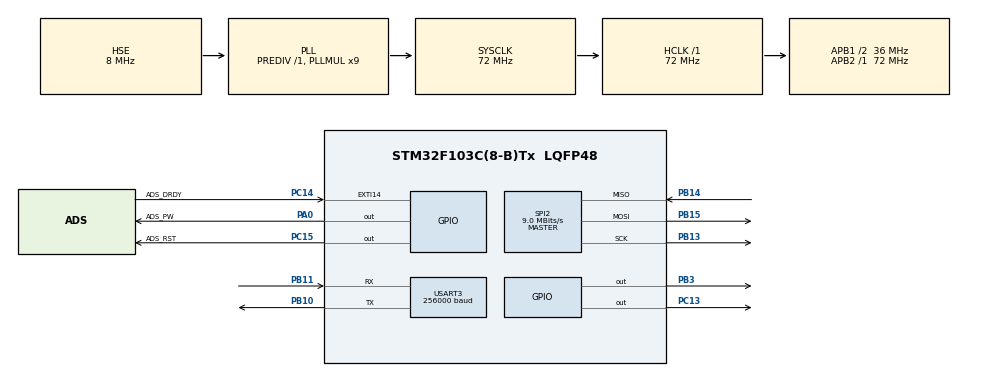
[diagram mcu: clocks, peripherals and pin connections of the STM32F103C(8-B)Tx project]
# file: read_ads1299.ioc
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Dma.Request0=USART3_TX
Dma.USART3_TX.0.Direction=DMA_MEMORY_TO_PERIPH
Dma.USART3_TX.0.Instance=DMA1_Channel2
Dma.USART3_TX.0.MemDataAlignment=DMA_MDATAALIGN_BYTE
Dma.USART3_TX.0.MemInc=DMA_MINC_ENABLE
Dma.USART3_TX.0.Mode=DMA_NORMAL
Dma.USART3_TX.0.PeriphDataAlignment=DMA_PDATAALIGN_BYTE
Dma.USART3_TX.0.PeriphInc=DMA_PINC_DISABLE
Dma.USART3_TX.0.Priority=DMA_PRIORITY_LOW
Mcu.Family=STM32F1
Mcu.Name=STM32F103C(8-B)Tx
Mcu.Package=LQFP48
NVIC.DMA1_Channel2_IRQn=true\:0\:0\:false\:false\:true\:false\:true\:true
NVIC.EXTI15_10_IRQn=true\:0\:0\:false\:false\:true\:true\:true\:true
NVIC.PriorityGroup=NVIC_PRIORITYGROUP_4
NVIC.USART3_IRQn=true\:1\:0\:true\:false\:true\:true\:true\:true
PA0-WKUP.GPIO_Label=ADS_PW
PA0-WKUP.Signal=GPIO_Output
PA13.Mode=Serial_Wire
PA13.Signal=SYS_JTMS-SWDIO
PA14.Mode=Serial_Wire
PA14.Signal=SYS_JTCK-SWCLK
PB10.Mode=Asynchronous
PB10.Signal=USART3_TX
PB11.Mode=Asynchronous
PB11.Signal=USART3_RX
PB13.Mode=Full_Duplex_Master
PB13.Signal=SPI2_SCK
PB14.Mode=Full_Duplex_Master
PB14.Signal=SPI2_MISO
PB15.Mode=Full_Duplex_Master
PB15.Signal=SPI2_MOSI
PB3.Signal=GPIO_Output
PC13-TAMPER-RTC.Signal=GPIO_Output
PC14-OSC32_IN.GPIO_Label=ADS_DRDY
PC14-OSC32_IN.GPIO_ModeDefaultEXTI=GPIO_MODE_IT_FALLING
PC14-OSC32_IN.GPIO_PuPd=GPIO_PULLDOWN
PC14-OSC32_IN.Signal=GPXTI14
PC15-OSC32_OUT.GPIO_Label=ADS_RST
PC15-OSC32_OUT.Signal=GPIO_Output
PD0-OSC_IN.Mode=HSE-External-Oscillator
PD0-OSC_IN.Signal=RCC_OSC_IN
PD1-OSC_OUT.Mode=HSE-External-Oscillator
PD1-OSC_OUT.Signal=RCC_OSC_OUT
ProjectManager.HeapSize=0x200
ProjectManager.StackSize=0x400
ProjectManager.TargetToolchain=STM32CubeIDE
RCC.AHBFreq_Value=72000000
RCC.APB1CLKDivider=RCC_HCLK_DIV2
RCC.APB1Freq_Value=36000000
RCC.APB1TimFreq_Value=72000000
RCC.APB2Freq_Value=72000000
RCC.APB2TimFreq_Value=72000000
RCC.HCLKFreq_Value=72000000
RCC.PLLMUL=RCC_PLL_MUL9
RCC.PLLSourceVirtual=RCC_PLLSOURCE_HSE
RCC.SYSCLKFreq_VALUE=72000000
RCC.SYSCLKSource=RCC_SYSCLKSOURCE_PLLCLK
RCC.USBFreq_Value=72000000
SPI2.BaudRatePrescaler=SPI_BAUDRATEPRESCALER_4
SPI2.CLKPhase=SPI_PHASE_2EDGE
SPI2.CalculateBaudRate=9.0 MBits/s
SPI2.Direction=SPI_DIRECTION_2LINES
SPI2.FirstBit=SPI_FIRSTBIT_MSB
SPI2.Mode=SPI_MODE_MASTER
SPI2.VirtualType=VM_MASTER
USART3.BaudRate=256000
USART3.Mode=MODE_TX_RX
USART3.VirtualMode=VM_ASYNC
board=custom

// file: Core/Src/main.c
/* USER CODE BEGIN Header */
/**
 ******************************************************************************
 * @file           : main.c
 * @brief          : Main program body
 ******************************************************************************
 * @attention
 *
 * Copyright (c) 2023 STMicroelectronics.
 * All rights reserved.
 *
 * This software is licensed under terms that can be found in the LICENSE file
 * in the root directory of this software component.
 * If no LICENSE file comes with this software, it is provided AS-IS.
 *
 ******************************************************************************
 */
/* USER CODE END Header */
#include "main.h"

/* USER CODE BEGIN Includes */
#include "ads1299.h"
#include <stdlib.h>
/* USER CODE END Includes */

UART_HandleTypeDef huart3;
DMA_HandleTypeDef hdma_usart3_tx;
SPI_HandleTypeDef hspi2;
/* USER CODE BEGIN PV */
uint8_t rxData_m;
int transmit = 0;

/* USER CODE END PV */

void SystemClock_Config(void);
static void MX_GPIO_Init(void);
static void MX_DMA_Init(void);
static void MX_SPI2_Init(void);
static void MX_USART3_UART_Init(void);

int main(void) {

	/* MCU Configuration--------------------------------------------------------*/

	/* Reset of all peripherals, Initializes the Flash interface and the Systick. */
	HAL_Init();

	/* Configure the system clock */
	SystemClock_Config();

	/* Initialize all configured peripherals */
	MX_GPIO_Init();
	MX_DMA_Init();
	MX_SPI2_Init();
	MX_USART3_UART_Init();
	/* USER CODE BEGIN 2 */

	ADS_init();
	HAL_UART_Receive_IT(&huart3, &rxData_m, 1);

	/* USER CODE END 2 */

	/* Infinite loop */
	while (1) {

		/* USER CODE BEGIN 3 */

		if (transmit == 1) {
			transmit = 0;
			send_dato();
		}

	}
	/* USER CODE END 3 */
}

void SystemClock_Config(void) {
	RCC_OscInitTypeDef RCC_OscInitStruct = { 0 };
	RCC_ClkInitTypeDef RCC_ClkInitStruct = { 0 };

	/** Initializes the RCC Oscillators according to the specified parameters
	 * in the RCC_OscInitTypeDef structure.
	 */
	RCC_OscInitStruct.OscillatorType = RCC_OSCILLATORTYPE_HSE;
	RCC_OscInitStruct.HSEState = RCC_HSE_ON;
	RCC_OscInitStruct.HSEPredivValue = RCC_HSE_PREDIV_DIV1;
	RCC_OscInitStruct.HSIState = RCC_HSI_ON;
	RCC_OscInitStruct.PLL.PLLState = RCC_PLL_ON;
	RCC_OscInitStruct.PLL.PLLSource = RCC_PLLSOURCE_HSE;
	RCC_OscInitStruct.PLL.PLLMUL = RCC_PLL_MUL9;
	if (HAL_RCC_OscConfig(&RCC_OscInitStruct) != HAL_OK) {
		Error_Handler();
	}

	/** Initializes the CPU, AHB and APB buses clocks
	 */
	RCC_ClkInitStruct.ClockType = RCC_CLOCKTYPE_HCLK | RCC_CLOCKTYPE_SYSCLK | RCC_CLOCKTYPE_PCLK1 | RCC_CLOCKTYPE_PCLK2;
	RCC_ClkInitStruct.SYSCLKSource = RCC_SYSCLKSOURCE_PLLCLK;
	RCC_ClkInitStruct.AHBCLKDivider = RCC_SYSCLK_DIV1;
	RCC_ClkInitStruct.APB1CLKDivider = RCC_HCLK_DIV2;
	RCC_ClkInitStruct.APB2CLKDivider = RCC_HCLK_DIV1;

	if (HAL_RCC_ClockConfig(&RCC_ClkInitStruct, FLASH_LATENCY_2) != HAL_OK) {
		Error_Handler();
	}
}

static void MX_SPI2_Init(void) {

	/* SPI2 parameter configuration*/
	hspi2.Instance = SPI2;
	hspi2.Init.Mode = SPI_MODE_MASTER;
	hspi2.Init.Direction = SPI_DIRECTION_2LINES;
	hspi2.Init.DataSize = SPI_DATASIZE_8BIT;
	hspi2.Init.CLKPolarity = SPI_POLARITY_LOW;
	hspi2.Init.CLKPhase = SPI_PHASE_2EDGE;
	hspi2.Init.NSS = SPI_NSS_SOFT;
	hspi2.Init.BaudRatePrescaler = SPI_BAUDRATEPRESCALER_4;
	hspi2.Init.FirstBit = SPI_FIRSTBIT_MSB;
	hspi2.Init.TIMode = SPI_TIMODE_DISABLE;
	hspi2.Init.CRCCalculation = SPI_CRCCALCULATION_DISABLE;
	hspi2.Init.CRCPolynomial = 10;
	if (HAL_SPI_Init(&hspi2) != HAL_OK) {
		Error_Handler();
	}

}

static void MX_USART3_UART_Init(void) {

	huart3.Instance = USART3;
	huart3.Init.BaudRate = 256000;
	huart3.Init.WordLength = UART_WORDLENGTH_8B;
	huart3.Init.StopBits = UART_STOPBITS_1;
	huart3.Init.Parity = UART_PARITY_NONE;
	huart3.Init.Mode = UART_MODE_TX_RX;
	huart3.Init.HwFlowCtl = UART_HWCONTROL_NONE;
	huart3.Init.OverSampling = UART_OVERSAMPLING_16;
	if (HAL_UART_Init(&huart3) != HAL_OK) {
		Error_Handler();
	}

}

static void MX_DMA_Init(void) {

	/* DMA controller clock enable */
	__HAL_RCC_DMA1_CLK_ENABLE();

	/* DMA interrupt init */
	/* DMA1_Channel2_IRQn interrupt configuration */
	HAL_NVIC_SetPriority(DMA1_Channel2_IRQn, 0, 0);
	HAL_NVIC_EnableIRQ(DMA1_Channel2_IRQn);

}

static void MX_GPIO_Init(void) {
	GPIO_InitTypeDef GPIO_InitStruct = { 0 };

	/* GPIO Ports Clock Enable */
	__HAL_RCC_GPIOC_CLK_ENABLE();
	__HAL_RCC_GPIOD_CLK_ENABLE();
	__HAL_RCC_GPIOA_CLK_ENABLE();
	__HAL_RCC_GPIOB_CLK_ENABLE();

	/*Configure GPIO pin Output Level */
	HAL_GPIO_WritePin(GPIOC, GPIO_PIN_13 | ADS_RST_Pin, GPIO_PIN_RESET);

	/*Configure GPIO pin Output Level */
	HAL_GPIO_WritePin(ADS_PW_GPIO_Port, ADS_PW_Pin, GPIO_PIN_RESET);

	/*Configure GPIO pin Output Level */
	HAL_GPIO_WritePin(GPIOB, GPIO_PIN_3, GPIO_PIN_RESET);

	/*Configure GPIO pins : PC13 ADS_RST_Pin */
	GPIO_InitStruct.Pin = GPIO_PIN_13 | ADS_RST_Pin;
	GPIO_InitStruct.Mode = GPIO_MODE_OUTPUT_PP;
	GPIO_InitStruct.Pull = GPIO_NOPULL;
	GPIO_InitStruct.Speed = GPIO_SPEED_FREQ_LOW;
	HAL_GPIO_Init(GPIOC, &GPIO_InitStruct);

	/*Configure GPIO pin : ADS_DRDY_Pin */
	GPIO_InitStruct.Pin = ADS_DRDY_Pin;
	GPIO_InitStruct.Mode = GPIO_MODE_IT_FALLING;
	GPIO_InitStruct.Pull = GPIO_PULLDOWN;
	HAL_GPIO_Init(ADS_DRDY_GPIO_Port, &GPIO_InitStruct);

	/*Configure GPIO pin : ADS_PW_Pin */
	GPIO_InitStruct.Pin = ADS_PW_Pin;
	GPIO_InitStruct.Mode = GPIO_MODE_OUTPUT_PP;
	GPIO_InitStruct.Pull = GPIO_NOPULL;
	GPIO_InitStruct.Speed = GPIO_SPEED_FREQ_LOW;
	HAL_GPIO_Init(ADS_PW_GPIO_Port, &GPIO_InitStruct);

	/*Configure GPIO pin : PB3 */
	GPIO_InitStruct.Pin = GPIO_PIN_3;
	GPIO_InitStruct.Mode = GPIO_MODE_OUTPUT_PP;
	GPIO_InitStruct.Pull = GPIO_NOPULL;
	GPIO_InitStruct.Speed = GPIO_SPEED_FREQ_LOW;
	HAL_GPIO_Init(GPIOB, &GPIO_InitStruct);

	/* EXTI interrupt init*/
	HAL_NVIC_SetPriority(EXTI15_10_IRQn, 0, 0);
	HAL_NVIC_EnableIRQ(EXTI15_10_IRQn);

}

/* USER CODE BEGIN 4 */

void HAL_GPIO_EXTI_Callback(uint16_t GPIO_Pin) {

	if (GPIO_Pin == ADS_DRDY_Pin) {			//Cuando llega un pulso de DRDY del ADS1299

		get_data_32Bit();
		transmit = 1;

	}
}

void HAL_UART_RxCpltCallback(UART_HandleTypeDef *huart) {

	rxData_m = recibir_comandos();
	HAL_UART_Receive_IT(&huart3, &rxData_m, 1);
}

/* USER CODE END 4 */

void Error_Handler(void) {
	__disable_irq();
	while (1) {
	}
}
